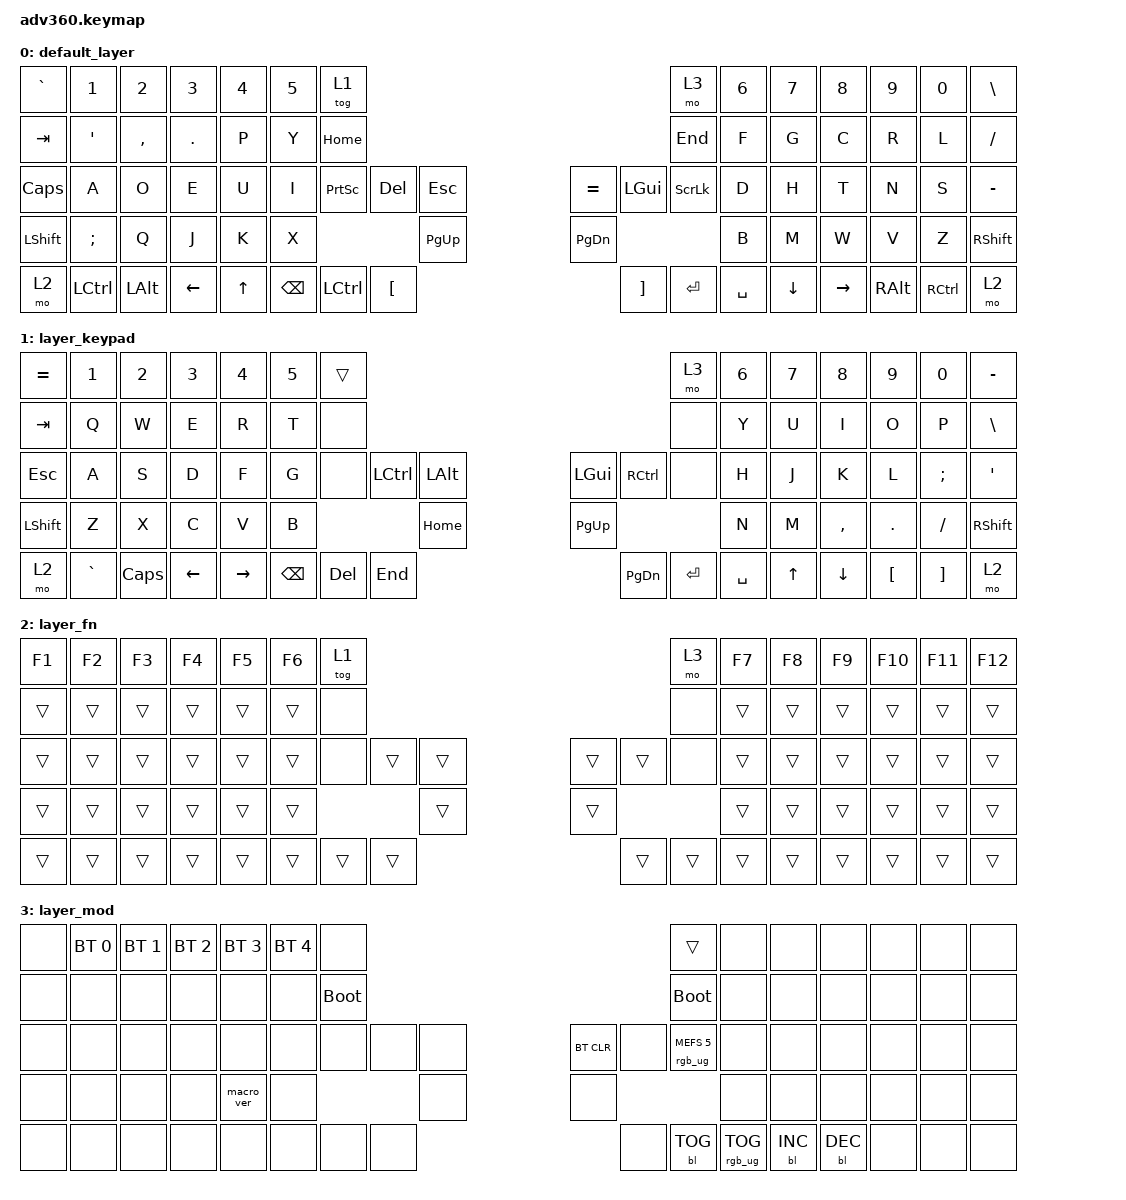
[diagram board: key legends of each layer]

/*
 * Copyright (c) 2020 The ZMK Contributors
 *
 * SPDX-License-Identifier: MIT
 */


/* THIS FILE WAS GENERATED!
 *
 * This file was generated automatically. You may or may not want to
 * edit it directly.
 */

#include <behaviors.dtsi>
#include <dt-bindings/zmk/keys.h>
#include <dt-bindings/zmk/bt.h>
#include <dt-bindings/zmk/rgb.h>
#include <dt-bindings/zmk/backlight.h>

/ {
  behaviors {
    #include "macros.dtsi"
    #include "version.dtsi"

    hm: homerow_mods {
        compatible = "zmk,behavior-hold-tap";
        label = "HOMEROW_MODS";
        #binding-cells = <2>;
        tapping-term-ms = <200>;
        quick_tap_ms = <175>;
        flavor = "tap-preferred";
        bindings = <&kp>, <&kp>;
    };
  };

    keymap {
        compatible = "zmk,keymap";


        default_layer {
            bindings = <
 &kp GRAVE            &kp N1     &kp N2    &kp N3  &kp N4  &kp N5                     &tog 1                                                                       &mo 3  &kp N6    &kp N7     &kp N8    &kp N9     &kp N0   &kp BSLH
   &kp TAB  &kp SINGLE_QUOTE  &kp COMMA   &kp DOT   &kp P   &kp Y                   &kp HOME                                                                     &kp END   &kp F     &kp G      &kp C     &kp R      &kp L  &kp SLASH
  &kp CAPS             &kp A      &kp O     &kp E   &kp U   &kp I            &kp PRINTSCREEN    &kp DEL    &kp ESC                  &kp EQUAL   &kp LGUI  &kp SCROLLLOCK   &kp D     &kp H      &kp T     &kp N      &kp S  &kp MINUS
 &kp LSHFT     &kp SEMICOLON      &kp Q     &kp J   &kp K   &kp X                                        &kp PG_UP                  &kp PG_DN                              &kp B     &kp M      &kp W     &kp V      &kp Z  &kp RSHFT
     &mo 2         &kp LCTRL   &kp LALT  &kp LEFT  &kp UP                           &kp BSPC  &kp LCTRL   &kp LBKT                   &kp RBKT  &kp ENTER       &kp SPACE          &kp DOWN  &kp RIGHT  &kp RALT  &kp RCTRL      &mo 2
            >;
        };

        layer_keypad {
            bindings = <
 &kp EQUAL     &kp N1    &kp N2    &kp N3     &kp N4  &kp N5              &trans                                                                 &mo 3  &kp N6  &kp N7     &kp N8            &kp N9         &kp N0  &kp MINUS
   &kp TAB      &kp Q     &kp W     &kp E      &kp R   &kp T               &none                                                                 &none   &kp Y   &kp U      &kp I             &kp O          &kp P   &kp BSLH
   &kp ESC      &kp A     &kp S     &kp D      &kp F   &kp G               &none  &kp LCTRL  &kp LALT                   &kp LGUI  &kp RCTRL      &none   &kp H   &kp J      &kp K             &kp L  &kp SEMICOLON    &kp SQT
 &kp LSHFT      &kp Z     &kp X     &kp C      &kp V   &kp B                                 &kp HOME                  &kp PG_UP                         &kp N   &kp M  &kp COMMA           &kp DOT      &kp SLASH  &kp RSHFT
     &mo 2  &kp GRAVE  &kp CAPS  &kp LEFT  &kp RIGHT                    &kp BSPC    &kp DEL   &kp END                  &kp PG_DN  &kp ENTER  &kp SPACE          &kp UP   &kp DOWN  &kp LEFT_BRACKET       &kp RBKT      &mo 2
            >;
        };

        layer_fn {
            bindings = <
 &kp F1  &kp F2  &kp F3  &kp F4  &kp F5  &kp F6            &tog 1                                                   &mo 3  &kp F7  &kp F8  &kp F9  &kp F10  &kp F11  &kp F12
 &trans  &trans  &trans  &trans  &trans  &trans             &none                                                   &none  &trans  &trans  &trans   &trans   &trans   &trans
 &trans  &trans  &trans  &trans  &trans  &trans             &none  &trans  &trans                  &trans  &trans   &none  &trans  &trans  &trans   &trans   &trans   &trans
 &trans  &trans  &trans  &trans  &trans  &trans                            &trans                  &trans                  &trans  &trans  &trans   &trans   &trans   &trans
 &trans  &trans  &trans  &trans  &trans                    &trans  &trans  &trans                  &trans  &trans  &trans          &trans  &trans   &trans   &trans   &trans
            >;
        };

        layer_mod {
            bindings = <
  &none  &bt BT_SEL 0  &bt BT_SEL 1  &bt BT_SEL 2  &bt BT_SEL 3  &bt BT_SEL 4                  &none                                                                          &trans   &none       &none       &none   &none   &none   &none
  &none         &none         &none         &none         &none         &none            &bootloader                                                                     &bootloader   &none       &none       &none   &none   &none   &none
  &none         &none         &none         &none         &none         &none                  &none   &none   &none                  &bt BT_CLR       &none  &rgb_ug RGB_MEFS_CMD 5   &none       &none       &none   &none   &none   &none
  &none         &none         &none         &none    &macro_ver         &none                                  &none                       &none                                       &none       &none       &none   &none   &none   &none
  &none         &none         &none         &none         &none                                &none   &none   &none                       &none  &bl BL_TOG         &rgb_ug RGB_TOG          &bl BL_INC  &bl BL_DEC   &none   &none   &none
            >;
        };

    };
};
